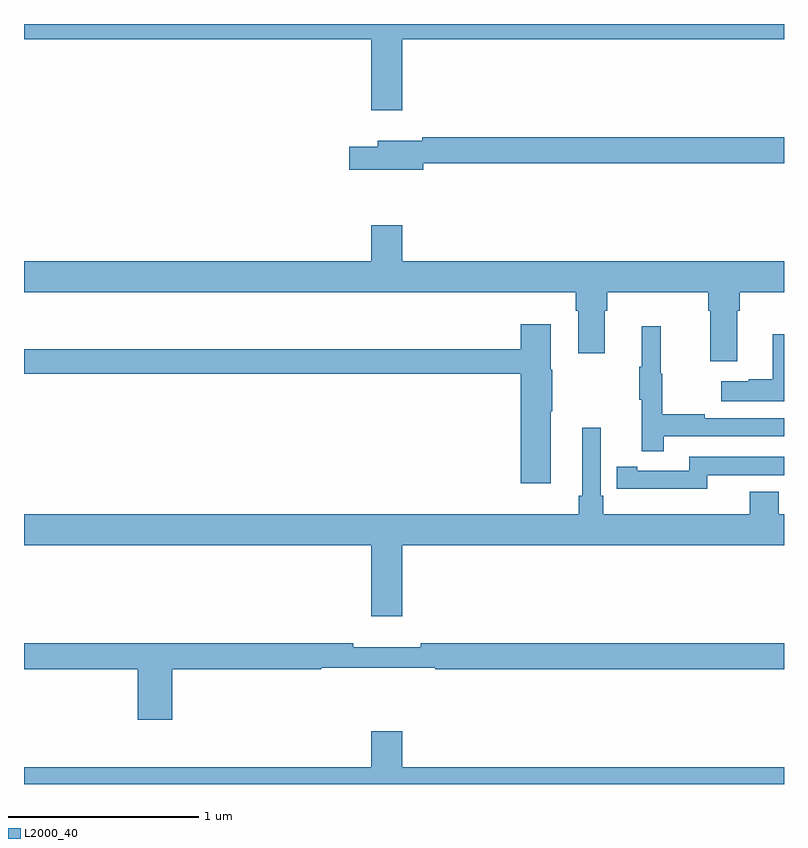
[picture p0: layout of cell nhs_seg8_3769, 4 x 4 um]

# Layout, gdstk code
import gdstk
lib = gdstk.Library(unit=1e-6, precision=1e-09)
def P(c, l, *ps):  # polygons
    for p in ps: c.add(gdstk.Polygon(p, *l))
L2000_40 = (2000, 40)

nhs_seg8_3769 = lib.new_cell('nhs_seg8_3769')
P(nhs_seg8_3769, L2000_40, [(344.992,1129.82),(347,1129.82),(347,1129.9),(343,1129.9),(343,1129.82),(344.828,1129.82),(344.828,1129.446),(344.992,1129.446)],
  [(345.1,1129.168),(347,1129.168),(347,1129.304),(345.096,1129.304),(345.096,1129.285),(344.861,1129.285),(344.861,1129.255),(344.712,1129.255),(344.712,1129.133),(345.1,1129.133)],
  [(346.753,1128.392),(346.766,1128.392),(346.766,1128.488),(347,1128.488),(347,1128.652),(344.992,1128.652),(344.992,1128.841),(344.828,1128.841),(344.828,1128.652),(343,1128.652),(343,1128.488),(345.905,1128.488),(345.905,1128.392),(345.917,1128.392),(345.917,1128.168),(346.057,1128.168),(346.057,1128.392),(346.07,1128.392),(346.07,1128.488),(346.601,1128.488),(346.601,1128.392),(346.613,1128.392),(346.613,1128.126),(346.753,1128.126)],
  [(345.772,1127.863),(345.78,1127.863),(345.78,1128.081),(345.772,1128.081),(345.772,1128.319),(345.614,1128.319),(345.614,1128.187),(343,1128.187),(343,1128.058),(345.614,1128.058),(345.614,1127.484),(345.772,1127.484)],
  [(346.367,1127.73),(347,1127.73),(347,1127.826),(346.583,1127.826),(346.583,1127.846),(346.36,1127.846),(346.36,1128.06),(346.352,1128.06),(346.352,1128.31),(346.25,1128.31),(346.25,1128.097),(346.239,1128.097),(346.239,1127.923),(346.25,1127.923),(346.25,1127.652),(346.367,1127.652)],
  [(347,1128.268),(346.94,1128.268),(346.94,1128.029),(346.814,1128.029),(346.814,1128.019),(346.671,1128.019),(346.671,1127.915),(347,1127.915)],
  [(344.992,1127.156),(347,1127.156),(347,1127.32),(346.973,1127.32),(346.973,1127.437),(346.82,1127.437),(346.82,1127.32),(346.049,1127.32),(346.049,1127.416),(346.035,1127.416),(346.035,1127.776),(345.938,1127.776),(345.938,1127.416),(345.919,1127.416),(345.919,1127.32),(343,1127.32),(343,1127.156),(344.828,1127.156),(344.828,1126.782),(344.992,1126.782)],
  [(346.596,1127.526),(347,1127.526),(347,1127.622),(346.5,1127.622),(346.5,1127.55),(346.228,1127.55),(346.228,1127.57),(346.12,1127.57),(346.12,1127.454),(346.228,1127.454),(346.228,1127.453),(346.596,1127.453)],
  [(343.781,1126.504),(344.564,1126.504),(344.564,1126.512),(345.164,1126.512),(345.164,1126.504),(347,1126.504),(347,1126.64),(345.088,1126.64),(345.088,1126.621),(344.732,1126.621),(344.732,1126.64),(343,1126.64),(343,1126.504),(343.598,1126.504),(343.598,1126.239),(343.781,1126.239)],
  [(347,1125.988),(344.992,1125.988),(344.992,1126.177),(344.828,1126.177),(344.828,1125.988),(343,1125.988),(343,1125.9),(347,1125.9)])

lib.write_gds('nhs_seg8_3769.gds')
